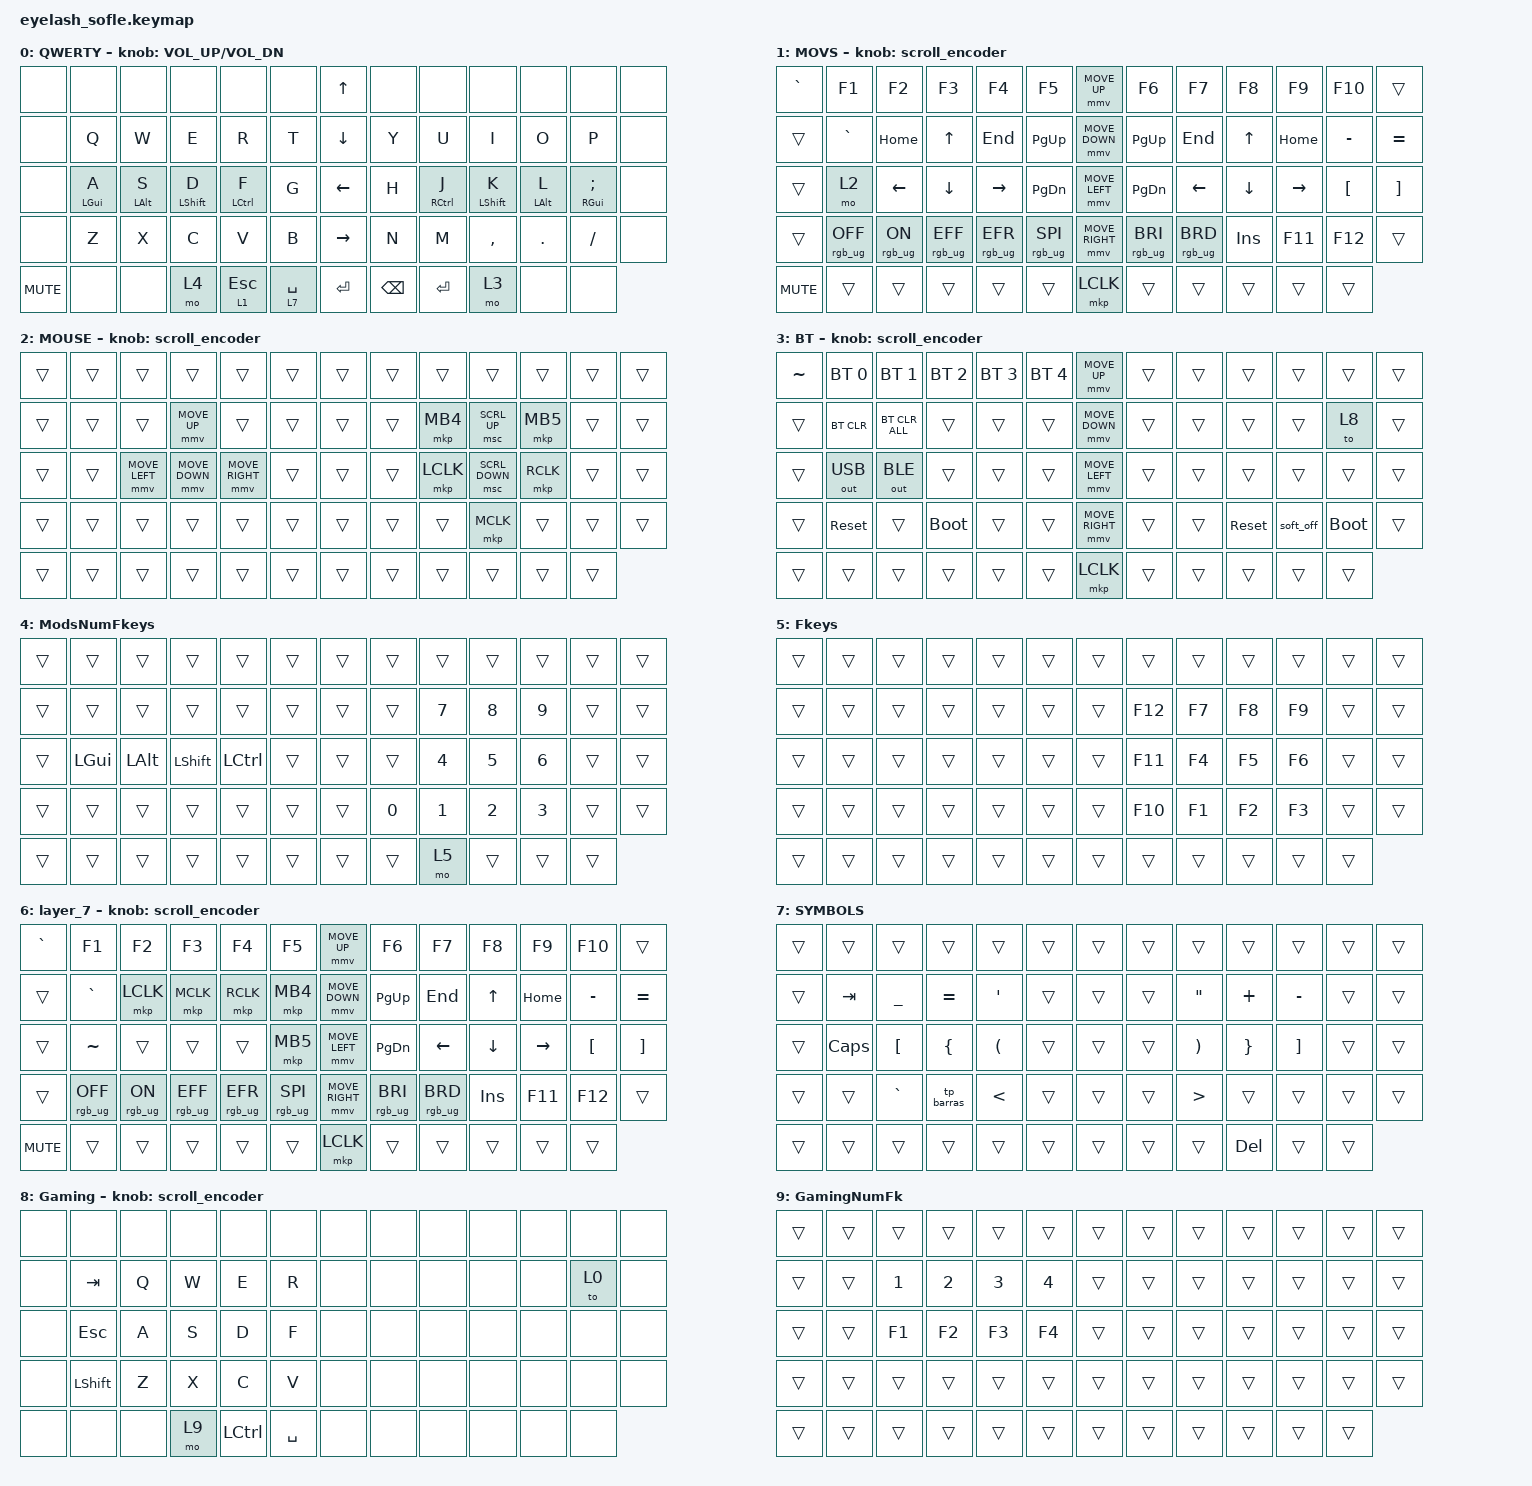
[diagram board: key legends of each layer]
#define ZMK_POINTING_DEFAULT_MOVE_VAL 1200  // 600
#define ZMK_POINTING_DEFAULT_SCRL_VAL 25   // 10

#include <input/processors.dtsi>
#include <zephyr/dt-bindings/input/input-event-codes.h>
#include <behaviors.dtsi>
#include <dt-bindings/zmk/bt.h>
#include <dt-bindings/zmk/keys.h>
#include <dt-bindings/zmk/outputs.h>
#include <dt-bindings/zmk/pointing.h>
#include <dt-bindings/zmk/rgb.h>

&mmv_input_listener { input-processors = <&zip_xy_scaler 2 1>; };

&msc_input_listener { input-processors = <&zip_scroll_scaler 2 1>; };

&msc {
    acceleration-exponent = <1>;      // 0
    time-to-max-speed-ms = <100>;       // 300
    delay-ms = <0>;                   // 0
};

&mmv {
    time-to-max-speed-ms = <500>;
    acceleration-exponent = <1>;
    trigger-period-ms = <16>;
};

&soft_off { hold-time-ms = <2000>; };

/ {
    scroll_encoder: scroll_encoder {
        compatible = "zmk,behavior-sensor-rotate";
        #sensor-binding-cells = <0>;
        bindings = <&msc SCRL_DOWN>, <&msc SCRL_UP>;

        tap-ms = <100>;
    };

    HMR: HMR {
        compatible = "zmk,behavior-hold-tap";
        label = "HMR";
        bindings = <&kp>, <&kp>;

        #binding-cells = <2>;
        hold-trigger-key-positions = <0 1 3 2 3 4 16 17 29 30 42 43 54 55 5 18 31 44 13 14 15 16 17 18 26 27 28 29 30 31 39 40 41 42 43 44 53 54 55 56 57>;
        tapping-term-ms = <280>;
        flavor = "balanced";
        require-prior-idle-ms = <150>;
        quick-tap-ms = <175>;
        hold-trigger-on-release;
    };

    HML: HML {
        compatible = "zmk,behavior-hold-tap";
        label = "HML";
        bindings = <&kp>, <&kp>;

        #binding-cells = <2>;
        tapping-term-ms = <280>;
        flavor = "balanced";
        hold-trigger-key-positions = <7 8 9 10 11 12 20 21 22 23 24 25 33 34 35 36 37 38 46 47 48 49 50 51 59 60 61 62 63>;
        quick-tap-ms = <175>;
        require-prior-idle-ms = <150>;
        hold-trigger-on-release;
    };

    tp_barras: tp_barras {
        compatible = "zmk,behavior-tap-dance";
        label = "TP_BARRAS";
        #binding-cells = <0>;
        bindings = <&kp BACKSLASH>, <&kp PIPE>;
    };

    behaviors {
    };

    combos {
        compatible = "zmk,combos";

        softoff {
            bindings = <&soft_off>;
            key-positions = <14 28 40>;
        };
    };

    macros {
        SHIFT_MCLK: SHIFT_MCLK {
            compatible = "zmk,behavior-macro";
            #binding-cells = <0>;
            bindings =
                <&macro_press>,
                <&kp LEFT_SHIFT>,
                <&macro_press>,
                <&mkp MB3>,
                <&macro_pause_for_release>,
                <&macro_release>,
                <&kp LEFT_SHIFT &mkp MB3>;

            label = "SHIFT_MCLK";
        };
    };

    keymap {
        compatible = "zmk,keymap";

        QWERTY {
            bindings = <
&none       &none            &none            &none              &none                &none          &kp UP_ARROW     &none          &none                 &none              &none            &none                &none
&none       &kp Q            &kp W            &kp E              &kp R                &kp T          &kp DOWN_ARROW   &kp Y          &kp U                 &kp I              &kp O            &kp P                &none
&none       &HML LEFT_GUI A  &HML LEFT_ALT S  &HML LEFT_SHIFT D  &HML LEFT_CONTROL F  &kp G          &kp LEFT_ARROW   &kp H          &HMR RIGHT_CONTROL J  &HMR LEFT_SHIFT K  &HMR LEFT_ALT L  &HMR RIGHT_GUI SEMI  &none
&none       &kp Z            &kp X            &kp C              &kp V                &kp B          &kp RIGHT_ARROW  &kp N          &kp M                 &kp COMMA          &kp DOT          &kp FSLH             &none
&kp C_MUTE  &none            &none            &mo 4              &lt 1 ESCAPE         &lt 7 SPACE    &kp ENTER        &kp BACKSPACE  &kp ENTER             &mo 3              &none            &none
            >;

            sensor-bindings = <&inc_dec_kp C_VOLUME_UP C_VOL_DN>;
            display-name = "QWERTY";
        };

        MOVS {
            bindings = <
&kp GRAVE   &kp F1           &kp F2          &kp F3           &kp F4           &kp F5             &mmv MOVE_UP     &kp F6           &kp F7           &kp F8      &kp F9     &kp F10           &trans
&trans      &kp GRAVE        &kp HOME        &kp UP           &kp END          &kp PAGE_UP        &mmv MOVE_DOWN   &kp PG_UP        &kp END          &kp UP      &kp HOME   &kp MINUS         &kp EQUAL
&trans      &mo 2            &kp LEFT        &kp DOWN         &kp RIGHT        &kp PAGE_DOWN      &mmv MOVE_LEFT   &kp PG_DN        &kp LEFT         &kp DOWN    &kp RIGHT  &kp LEFT_BRACKET  &kp RIGHT_BRACKET
&trans      &rgb_ug RGB_OFF  &rgb_ug RGB_ON  &rgb_ug RGB_EFF  &rgb_ug RGB_EFR  &rgb_ug RGB_SPI    &mmv MOVE_RIGHT  &rgb_ug RGB_BRI  &rgb_ug RGB_BRD  &kp INSERT  &kp F11    &kp F12           &trans
&kp C_MUTE  &trans           &trans          &trans           &trans           &trans             &mkp LCLK        &trans           &trans           &trans      &trans     &trans
            >;

            display-name = "MOVS";
            sensor-bindings = <&scroll_encoder>;
        };

        MOUSE {
            bindings = <
&trans  &trans  &trans          &trans          &trans           &trans    &trans  &trans  &trans     &trans          &trans     &trans  &trans
&trans  &trans  &trans          &mmv MOVE_UP    &trans           &trans    &trans  &trans  &mkp MB4   &msc SCRL_UP    &mkp MB5   &trans  &trans
&trans  &trans  &mmv MOVE_LEFT  &mmv MOVE_DOWN  &mmv MOVE_RIGHT  &trans    &trans  &trans  &mkp LCLK  &msc SCRL_DOWN  &mkp RCLK  &trans  &trans
&trans  &trans  &trans          &trans          &trans           &trans    &trans  &trans  &trans     &mkp MCLK       &trans     &trans  &trans
&trans  &trans  &trans          &trans          &trans           &trans    &trans  &trans  &trans     &trans          &trans     &trans
            >;

            display-name = "MOUSE";
            sensor-bindings = <&scroll_encoder>;
        };

        BT {
            bindings = <
&kp TILDE  &bt BT_SEL 0  &bt BT_SEL 1    &bt BT_SEL 2  &bt BT_SEL 3  &bt BT_SEL 4    &mmv MOVE_UP     &trans  &trans  &trans      &trans     &trans       &trans
&trans     &bt BT_CLR    &bt BT_CLR_ALL  &trans        &trans        &trans          &mmv MOVE_DOWN   &trans  &trans  &trans      &trans     &to 8        &trans
&trans     &out OUT_USB  &out OUT_BLE    &trans        &trans        &trans          &mmv MOVE_LEFT   &trans  &trans  &trans      &trans     &trans       &trans
&trans     &sys_reset    &trans          &bootloader   &trans        &trans          &mmv MOVE_RIGHT  &trans  &trans  &sys_reset  &soft_off  &bootloader  &trans
&trans     &trans        &trans          &trans        &trans        &trans          &mkp LCLK        &trans  &trans  &trans      &trans     &trans
            >;

            display-name = "BT";
            sensor-bindings = <&scroll_encoder>;
        };

        ModsNumPad {
            bindings = <
&trans  &trans    &trans    &trans     &trans     &trans    &trans  &trans  &trans  &trans  &trans  &trans  &trans
&trans  &trans    &trans    &trans     &trans     &trans    &trans  &trans  &kp N7  &kp N8  &kp N9  &trans  &trans
&trans  &kp LGUI  &kp LALT  &kp LSHFT  &kp LCTRL  &trans    &trans  &trans  &kp N4  &kp N5  &kp N6  &trans  &trans
&trans  &trans    &trans    &trans     &trans     &trans    &trans  &kp N0  &kp N1  &kp N2  &kp N3  &trans  &trans
&trans  &trans    &trans    &trans     &trans     &trans    &trans  &trans  &mo 5   &trans  &trans  &trans
            >;

            label = "ModsNumFkeys";
        };

        Fkeys {
            label = "Fkeys";
            bindings = <
&trans  &trans  &trans  &trans  &trans  &trans    &trans  &trans   &trans  &trans  &trans  &trans  &trans
&trans  &trans  &trans  &trans  &trans  &trans    &trans  &kp F12  &kp F7  &kp F8  &kp F9  &trans  &trans
&trans  &trans  &trans  &trans  &trans  &trans    &trans  &kp F11  &kp F4  &kp F5  &kp F6  &trans  &trans
&trans  &trans  &trans  &trans  &trans  &trans    &trans  &kp F10  &kp F1  &kp F2  &kp F3  &trans  &trans
&trans  &trans  &trans  &trans  &trans  &trans    &trans  &trans   &trans  &trans  &trans  &trans
            >;
        };

        layer_7 {
            display-name = "layer_7";
            bindings = <
&kp GRAVE   &kp F1           &kp F2          &kp F3           &kp F4           &kp F5             &mmv MOVE_UP     &kp F6           &kp F7           &kp F8      &kp F9     &kp F10           &trans
&trans      &kp GRAVE        &mkp LCLK       &mkp MCLK        &mkp RCLK        &mkp MB4           &mmv MOVE_DOWN   &kp PG_UP        &kp END          &kp UP      &kp HOME   &kp MINUS         &kp EQUAL
&trans      &kp TILDE        &trans          &trans           &trans           &mkp MB5           &mmv MOVE_LEFT   &kp PG_DN        &kp LEFT         &kp DOWN    &kp RIGHT  &kp LEFT_BRACKET  &kp RIGHT_BRACKET
&trans      &rgb_ug RGB_OFF  &rgb_ug RGB_ON  &rgb_ug RGB_EFF  &rgb_ug RGB_EFR  &rgb_ug RGB_SPI    &mmv MOVE_RIGHT  &rgb_ug RGB_BRI  &rgb_ug RGB_BRD  &kp INSERT  &kp F11    &kp F12           &trans
&kp C_MUTE  &trans           &trans          &trans           &trans           &trans             &mkp LCLK        &trans           &trans           &trans      &trans     &trans
            >;

            sensor-bindings = <&scroll_encoder>;
            label = "layer_7";
        };

        SYMBOLS {
            bindings = <
&trans  &trans    &trans          &trans          &trans                &trans    &trans  &trans  &trans                 &trans           &trans     &trans  &trans
&trans  &kp TAB   &kp UNDERSCORE  &kp EQUAL       &kp SINGLE_QUOTE      &trans    &trans  &trans  &kp DOUBLE_QUOTES      &kp PLUS         &kp MINUS  &trans  &trans
&trans  &kp CAPS  &kp LBKT        &kp LEFT_BRACE  &kp LEFT_PARENTHESIS  &trans    &trans  &trans  &kp RIGHT_PARENTHESIS  &kp RIGHT_BRACE  &kp RBKT   &trans  &trans
&trans  &trans    &kp GRAVE       &tp_barras      &kp LESS_THAN         &trans    &trans  &trans  &kp GREATER_THAN       &trans           &trans     &trans  &trans
&trans  &trans    &trans          &trans          &trans                &trans    &trans  &trans  &trans                 &kp DELETE       &trans     &trans
            >;
        };

        Gaming {
            bindings = <
&none  &none      &none  &none  &none      &none        &none  &none  &none  &none  &none  &none  &none
&none  &kp TAB    &kp Q  &kp W  &kp E      &kp R        &none  &none  &none  &none  &none  &to 0  &none
&none  &kp ESC    &kp A  &kp S  &kp D      &kp F        &none  &none  &none  &none  &none  &none  &none
&none  &kp LSHFT  &kp Z  &kp X  &kp C      &kp V        &none  &none  &none  &none  &none  &none  &none
&none  &none      &none  &mo 9  &kp LCTRL  &kp SPACE    &none  &none  &none  &none  &none  &none
            >;

            display-name = "Gaming";
            sensor-bindings = <&scroll_encoder>;
        };

        GamingNumFk {
            bindings = <
&trans  &trans  &trans  &trans  &trans  &trans    &trans  &trans  &trans  &trans  &trans  &trans  &trans
&trans  &trans  &kp N1  &kp N2  &kp N3  &kp N4    &trans  &trans  &trans  &trans  &trans  &trans  &trans
&trans  &trans  &kp F1  &kp F2  &kp F3  &kp F4    &trans  &trans  &trans  &trans  &trans  &trans  &trans
&trans  &trans  &trans  &trans  &trans  &trans    &trans  &trans  &trans  &trans  &trans  &trans  &trans
&trans  &trans  &trans  &trans  &trans  &trans    &trans  &trans  &trans  &trans  &trans  &trans
            >;
        };
    };
};
